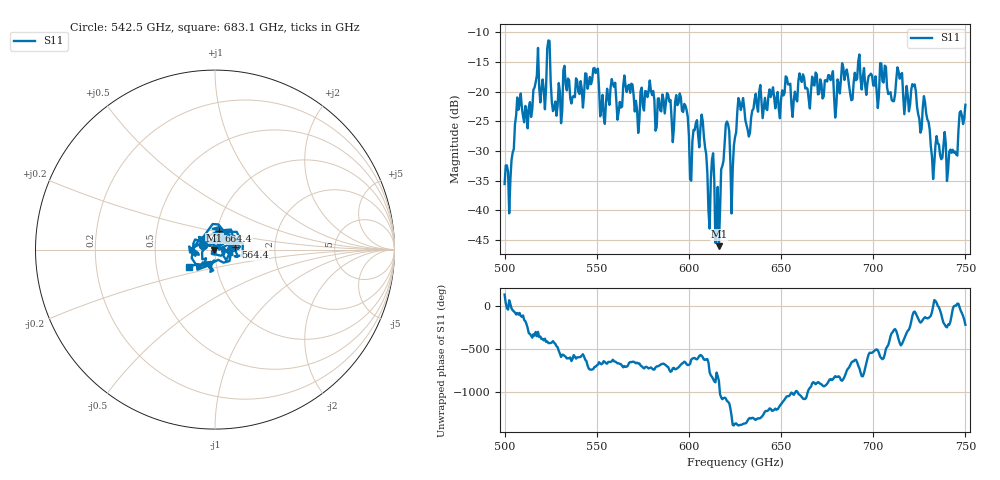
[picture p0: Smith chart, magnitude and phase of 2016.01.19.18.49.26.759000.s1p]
!Created with skrf (http://scikit-rf.org).
# GHz S RI R 50.0
!freq ReS11 ImS11
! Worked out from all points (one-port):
!   401 points, 500 GHz to 750 GHz, reference 50 ohm
!   lowest |S11| = -46.0 dB at 616.2 GHz (marker M1), VSWR 1.01, Z = 49.6 - j0.277 ohm
!   |S11| at or under -10 dB: start of sweep to end of sweep
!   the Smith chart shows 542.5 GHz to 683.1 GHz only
!   S11 on the Smith chart (normalised r, x): 542.5 GHz: 0.87, +0.04; 564.4 GHz: 1.25, +0.04; 664.4 GHz: 1.03, +0.21; 683.1 GHz: 0.73, -0.14
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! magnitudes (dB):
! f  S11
! 500 GHz  -35.6
! 503.8 GHz  -31.5
! 507.5 GHz  -23.0
! 513.8 GHz  -21.8
! 516.9 GHz  -18.4
! 531.2 GHz  -23.3
! 542.5 GHz  -22.7
! 562.5 GHz  -21.7
! 564.4 GHz  -18.9
! 593.8 GHz  -22.3
! 601.2 GHz  -35.0
! 607.5 GHz  -24.9
! 610.6 GHz  -40.2
! 616.2 GHz  -46.0
! 620.6 GHz  -25.0
! 623.1 GHz  -40.5
! 625 GHz  -27.7
! 628.1 GHz  -23.1
! 631.9 GHz  -26.4
! 656.2 GHz  -24.2
! 664.4 GHz  -19.5
! 683.1 GHz  -15.2
! 687.5 GHz  -20.3
! 718.8 GHz  -20.7
! 728.1 GHz  -21.8
! 732.5 GHz  -34.7
! 744.4 GHz  -30.1
! 750 GHz  -22.2
